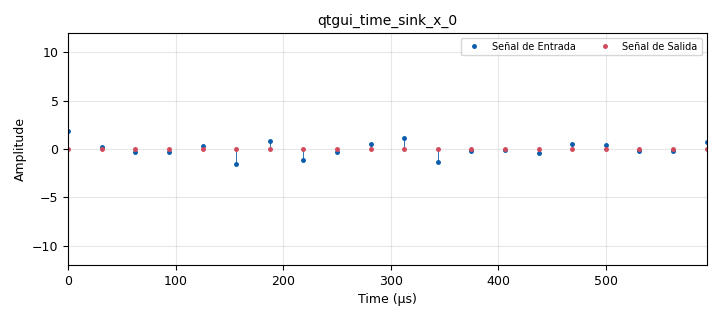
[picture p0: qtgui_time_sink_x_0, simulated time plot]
options:
  parameters:
    generate_options: qt_gui
    id: Item12
    output_language: python
    title: Not titled yet
  states: {}

blocks:
- name: samp_rate
  id: variable
  parameters:
    value: '32000'
  states: {}
- name: analog_noise_source_x_0
  id: analog_noise_source_x
  parameters:
    amp: '1'
    noise_type: analog.GR_GAUSSIAN
    seed: '0'
    type: float
  states: {}
- name: epy_block_0
  id: epy_block
  parameters:
    _source_code: |
      import numpy as np
      from gnuradio import gr


      class blk(gr.sync_block):  # other base classes are basic_block, decim_block, interp_block
          """Embedded Python Block example - a simple multiply const"""

          def __init__(self,):  # only default arguments here
              """arguments to this function show up as parameters in GRC"""
              gr.sync_block.__init__(
                  self,
                  name='Time Average',   # will show up in GRC
                  in_sig=[np.float32],
                  out_sig=[np.float32]
              )
              self.acum_anterior = 0
              self.Ntotales = 0
              # if an attribute with the same name as a parameter is found,
              # a callback is registered (properties work, too).
              

          def work(self, input_items, output_items):
              """example: multiply with constant"""
              x = input_items[0]
              N = len(x)
              self.Ntotales += N
              y = output_items[0]
              Acumulado = self.acum_anterior + np.cumsum(x)
              self.acum_anterior = Acumulado[-1]
              y[:] = Acumulado/self.Ntotales
              return len(x)
  states: {}
- name: qtgui_number_sink_0
  id: qtgui_number_sink
  parameters:
    graph_type: qtgui.NUM_GRAPH_HORIZ
    name: '"La media"'
    type: float
  states: {}
- name: qtgui_time_sink_x_0
  id: qtgui_time_sink_x
  parameters:
    color1: dark blue
    label1: Señal de Entrada
    label2: Señal de Salida
    marker1: '0'
    marker2: '0'
    nconnections: '2'
    size: '20'
    srate: samp_rate
    stemplot: 'True'
    type: float
    width1: '2'
    width2: '2'
    ymax: '12'
    ymin: '-12'
  states: {}

connections:
- [analog_noise_source_x_0, '0', epy_block_0, '0']
- [analog_noise_source_x_0, '0', qtgui_time_sink_x_0, '0']
- [epy_block_0, '0', qtgui_number_sink_0, '0']
- [epy_block_0, '0', qtgui_time_sink_x_0, '1']

metadata:
  file_format: 1
  grc_version: 3.9.8.0
